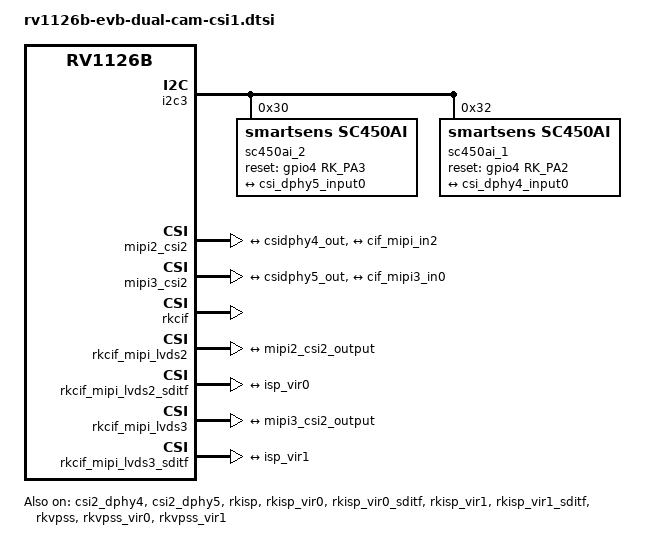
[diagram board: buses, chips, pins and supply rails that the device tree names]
// SPDX-License-Identifier: (GPL-2.0+ OR MIT)
/*
 * Copyright (c) 2025 Rockchip Electronics Co., Ltd.
 *
 */

/*
 * csi2_dphy0 -> csi0(rx0) clk0 + 4 lane
 * csi2_dphy1 -> csi0(rx0) clk0 + 2 lane 0/1
 * csi2_dphy2 -> csi0(rx0) clk1 + 2 lane 2/3
 * csi2_dphy3 -> csi1(rx1) clk0 + 4 lane
 * csi2_dphy4 -> csi1(rx1) clk0 + 2 lane 0/1
 * csi2_dphy5 -> csi1(rx1) clk1 + 2 lane 2/3
 */

&csi2_dphy4 {
	status = "okay";

	ports {
		#address-cells = <1>;
		#size-cells = <0>;
		port@0 {
			reg = <0>;
			#address-cells = <1>;
			#size-cells = <0>;

			csi_dphy4_input0: endpoint@1 {
				reg = <1>;
				remote-endpoint = <&sc450ai_1_out>;
				data-lanes = <1 2>;
			};
		};
		port@1 {
			reg = <1>;
			#address-cells = <1>;
			#size-cells = <0>;

			csidphy4_out: endpoint@0 {
				reg = <0>;
				remote-endpoint = <&mipi2_csi2_input>;
			};
		};
	};
};

&csi2_dphy5 {
	status = "okay";

	ports {
		#address-cells = <1>;
		#size-cells = <0>;
		port@0 {
			reg = <0>;
			#address-cells = <1>;
			#size-cells = <0>;

			csi_dphy5_input0: endpoint@1 {
				reg = <1>;
				remote-endpoint = <&sc450ai_2_out>;
				data-lanes = <1 2>;
			};

		};
		port@1 {
			reg = <1>;
			#address-cells = <1>;
			#size-cells = <0>;

			csidphy5_out: endpoint@0 {
				reg = <0>;
				remote-endpoint = <&mipi3_csi2_input>;
			};
		};
	};
};

&i2c3 {
	status = "okay";
	pinctrl-0 = <&i2c3m1_pins>;

	sc450ai_2: sc450ai-2@30 {
		compatible = "smartsens,sc450ai";
		status = "okay";
		reg = <0x30>;
		clocks = <&cru CLK_MIPI3_OUT2IO>;
		clock-names = "xvclk";
		/* pwdn need connect to reset */
		reset-gpios = <&gpio4 RK_PA3 GPIO_ACTIVE_HIGH>;
		pinctrl-names = "default";
		pinctrl-0 = <&cam_clk3_pins>;
		rockchip,camera-module-index = <1>;
		rockchip,camera-module-facing = "back";
		rockchip,camera-module-name = "default";
		rockchip,camera-module-lens-name = "default";
		port {
			sc450ai_2_out: endpoint {
				remote-endpoint = <&csi_dphy5_input0>;
				data-lanes = <1 2>;
			};
		};
	};

	sc450ai_1: sc450ai-1@32 {
		compatible = "smartsens,sc450ai";
		status = "okay";
		reg = <0x32>;
		clocks = <&cru CLK_MIPI2_OUT2IO>;
		clock-names = "xvclk";
		/* pwdn need connect to reset */
		reset-gpios = <&gpio4 RK_PA2 GPIO_ACTIVE_HIGH>;
		pinctrl-names = "default";
		pinctrl-0 = <&cam_clk2_pins>;
		rockchip,camera-module-index = <0>;
		rockchip,camera-module-facing = "back";
		rockchip,camera-module-name = "default";
		rockchip,camera-module-lens-name = "default";
		port {
			sc450ai_1_out: endpoint {
				remote-endpoint = <&csi_dphy4_input0>;
				data-lanes = <1 2>;
			};
		};
	};
};

&mipi2_csi2 {
	status = "okay";

	ports {
		#address-cells = <1>;
		#size-cells = <0>;

		port@0 {
			reg = <0>;
			#address-cells = <1>;
			#size-cells = <0>;

			mipi2_csi2_input: endpoint@1 {
				reg = <1>;
				remote-endpoint = <&csidphy4_out>;
			};
		};

		port@1 {
			reg = <1>;
			#address-cells = <1>;
			#size-cells = <0>;

			mipi2_csi2_output: endpoint@0 {
				reg = <0>;
				remote-endpoint = <&cif_mipi_in2>;
			};
		};
	};
};

&mipi3_csi2 {
	status = "okay";

	ports {
		#address-cells = <1>;
		#size-cells = <0>;

		port@0 {
			reg = <0>;
			#address-cells = <1>;
			#size-cells = <0>;

			mipi3_csi2_input: endpoint@1 {
				reg = <1>;
				remote-endpoint = <&csidphy5_out>;
			};
		};

		port@1 {
			reg = <1>;
			#address-cells = <1>;
			#size-cells = <0>;

			mipi3_csi2_output: endpoint@0 {
				reg = <0>;
				remote-endpoint = <&cif_mipi3_in0>;
			};
		};
	};
};

&rkcif {
	status = "okay";
};

&rkcif_mipi_lvds2 {
	status = "okay";

	port {
		cif_mipi_in2: endpoint {
			remote-endpoint = <&mipi2_csi2_output>;
		};
	};
};

&rkcif_mipi_lvds2_sditf {
	status = "okay";

	port {
		mipi_lvds2_sditf: endpoint {
			remote-endpoint = <&isp_vir0>;
		};
	};
};

&rkcif_mipi_lvds3 {
	status = "okay";

	port {
		cif_mipi3_in0: endpoint {
			remote-endpoint = <&mipi3_csi2_output>;
		};
	};
};

&rkcif_mipi_lvds3_sditf {
	status = "okay";

	port {
		mipi_lvds3_sditf: endpoint {
			remote-endpoint = <&isp_vir1>;
		};
	};
};

&rkcif_mmu {
	status = "okay";
};

&rkisp {
	status = "okay";
};

&rkisp_mmu {
	status = "okay";
};

&rkisp_vir0 {
	status = "okay";

	port {
		#address-cells = <1>;
		#size-cells = <0>;

		isp_vir0: endpoint@0 {
			reg = <0>;
			remote-endpoint = <&mipi_lvds2_sditf>;
		};
	};
};

&rkisp_vir0_sditf {
	status = "okay";
};

&rkisp_vir1 {
	status = "okay";

	port {
		#address-cells = <1>;
		#size-cells = <0>;

		isp_vir1: endpoint@0 {
			reg = <0>;
			remote-endpoint = <&mipi_lvds3_sditf>;
		};
	};
};

&rkisp_vir1_sditf {
	status = "okay";
};

&rkvpss {
	status = "okay";
	dvbm = <&rkdvbm>;
};

&rkvpss_mmu {
	status = "okay";
};

&rkvpss_vir0 {
	status = "okay";
};

&rkvpss_vir1 {
	status = "okay";
};
